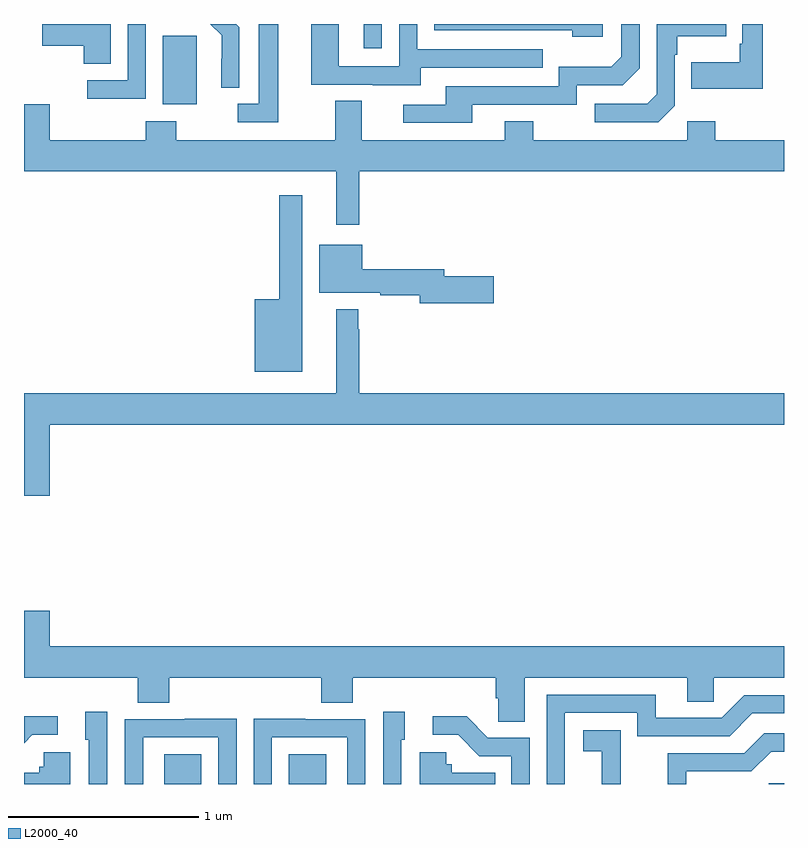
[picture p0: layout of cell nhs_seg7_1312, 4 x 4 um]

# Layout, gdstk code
import gdstk
lib = gdstk.Library(unit=1e-6, precision=1e-09)
def R(c, l, rs):  # rectangles x0, y0, x1, y1
    for r in rs: c.add(gdstk.rectangle(r[:2], r[2:], *l))
def P(c, l, *ps):  # polygons
    for p in ps: c.add(gdstk.Polygon(p, *l))
L2000_40 = (2000, 40)

nhs_seg7_1312 = lib.new_cell('nhs_seg7_1312')
R(nhs_seg7_1312, L2000_40, [(201.737,1056,201.934,1056.157), (202.394,1056,202.591,1056.157), (204.921,1056,205,1056.003), (201.731,1059.578,201.91,1059.939), (202.787,1059.873,202.884,1060)])
P(nhs_seg7_1312, L2000_40, [(202.339,1060),(202.235,1060),(202.235,1059.579),(202.125,1059.579),(202.125,1059.483),(202.339,1059.483)],
  [(204.046,1060),(203.16,1060),(203.16,1059.966),(203.885,1059.966),(203.885,1059.932),(204.046,1059.932)],
  [(202.134,1059.982),(202.116,1060),(201.98,1060),(202.04,1059.941),(202.04,1059.818),(202.038,1059.818),(202.038,1059.664),(202.134,1059.664)],
  [(201.642,1060),(201.546,1060),(201.546,1059.705),(201.333,1059.705),(201.333,1059.607),(201.642,1059.607)],
  [(204.426,1059.57),(204.426,1059.839),(204.439,1059.839),(204.439,1059.935),(204.695,1059.935),(204.695,1060),(204.33,1060),(204.33,1059.63),(204.279,1059.579),(204.003,1059.579),(204.003,1059.483),(204.339,1059.483)],
  [(203.359,1059.576),(203.91,1059.576),(203.91,1059.678),(204.15,1059.678),(204.24,1059.768),(204.24,1060),(204.144,1060),(204.144,1059.828),(204.091,1059.775),(203.814,1059.775),(203.814,1059.672),(203.219,1059.672),(203.219,1059.576),(202.995,1059.576),(202.995,1059.48),(203.359,1059.48)],
  [(204.889,1060),(204.78,1060),(204.78,1059.895),(204.768,1059.895),(204.768,1059.799),(204.511,1059.799),(204.511,1059.659),(204.889,1059.659)],
  [(203.089,1059.771),(203.729,1059.771),(203.729,1059.867),(203.07,1059.867),(203.07,1060),(202.974,1060),(202.974,1059.777),(202.656,1059.777),(202.656,1060),(202.511,1060),(202.511,1059.681),(202.835,1059.681),(202.835,1059.677),(203.089,1059.677)],
  [(201.457,1060),(201.096,1060),(201.096,1059.886),(201.314,1059.886),(201.314,1059.79),(201.457,1059.79)],
  [(202.637,1059.388),(201.801,1059.388),(201.801,1059.487),(201.641,1059.487),(201.641,1059.388),(201.136,1059.388),(201.136,1059.577),(201,1059.577),(201,1059.224),(202.643,1059.224),(202.643,1058.943),(202.765,1058.943),(202.765,1059.224),(205,1059.224),(205,1059.388),(204.639,1059.388),(204.639,1059.487),(204.492,1059.487),(204.492,1059.388),(203.679,1059.388),(203.679,1059.487),(203.531,1059.487),(203.531,1059.388),(202.777,1059.388),(202.777,1059.596),(202.637,1059.596)],
  [(202.465,1059.1),(202.344,1059.1),(202.344,1058.551),(202.214,1058.551),(202.214,1058.171),(202.465,1058.171)],
  [(203.473,1058.672),(203.212,1058.672),(203.212,1058.708),(202.78,1058.708),(202.78,1058.839),(202.553,1058.839),(202.553,1058.585),(202.876,1058.585),(202.876,1058.572),(203.084,1058.572),(203.084,1058.53),(203.473,1058.53)],
  [(201.136,1057.892),(205,1057.892),(205,1058.056),(202.765,1058.056),(202.765,1058.393),(202.758,1058.393),(202.758,1058.5),(202.643,1058.5),(202.643,1058.056),(201,1058.056),(201,1057.518),(201.136,1057.518)],
  [(203.635,1056.56),(204.491,1056.56),(204.491,1056.433),(204.63,1056.433),(204.63,1056.56),(205,1056.56),(205,1056.724),(201.136,1056.724),(201.136,1056.913),(201,1056.913),(201,1056.56),(201.599,1056.56),(201.599,1056.427),(201.764,1056.427),(201.764,1056.56),(202.565,1056.56),(202.565,1056.427),(202.73,1056.427),(202.73,1056.56),(203.483,1056.56),(203.483,1056.451),(203.496,1056.451),(203.496,1056.328),(203.635,1056.328)],
  [(203.847,1056.375),(204.228,1056.375),(204.228,1056.252),(204.714,1056.252),(204.834,1056.372),(205,1056.372),(205,1056.468),(204.792,1056.468),(204.672,1056.348),(204.325,1056.348),(204.325,1056.471),(203.751,1056.471),(203.751,1056),(203.847,1056)],
  [(202.986,1056.234),(203.005,1056.234),(203.005,1056.379),(202.89,1056.379),(202.89,1056),(202.986,1056)],
  [(201.438,1056.379),(201.323,1056.379),(201.323,1056.234),(201.342,1056.234),(201.342,1056),(201.438,1056)],
  [(203.661,1056.243),(203.442,1056.243),(203.329,1056.356),(203.151,1056.356),(203.151,1056.258),(203.285,1056.258),(203.396,1056.147),(203.565,1056.147),(203.565,1056),(203.661,1056)],
  [(201.043,1056.258),(201.178,1056.258),(201.178,1056.356),(201,1056.356),(201,1056.215)],
  [(201.627,1056.246),(202.023,1056.246),(202.023,1056),(202.119,1056),(202.119,1056.344),(201.847,1056.344),(201.847,1056.342),(201.531,1056.342),(201.531,1056),(201.627,1056)],
  [(202.305,1056.246),(202.701,1056.246),(202.701,1056),(202.797,1056),(202.797,1056.342),(202.481,1056.342),(202.481,1056.344),(202.209,1056.344),(202.209,1056),(202.305,1056)],
  [(204.14,1056.077),(204.141,1056.077),(204.141,1056.283),(203.943,1056.283),(203.943,1056.173),(204.041,1056.173),(204.041,1056),(204.14,1056)],
  [(204.486,1056.066),(204.828,1056.066),(204.932,1056.17),(205,1056.17),(205,1056.267),(204.896,1056.267),(204.791,1056.162),(204.388,1056.162),(204.388,1056),(204.486,1056)],
  [(201.244,1056.166),(201.105,1056.166),(201.105,1056.09),(201.079,1056.09),(201.079,1056.058),(201,1056.058),(201,1056),(201.244,1056)],
  [(203.48,1056.058),(203.25,1056.058),(203.25,1056.105),(203.223,1056.105),(203.223,1056.166),(203.084,1056.166),(203.084,1056),(203.48,1056)])

lib.write_gds('nhs_seg7_1312.gds')
